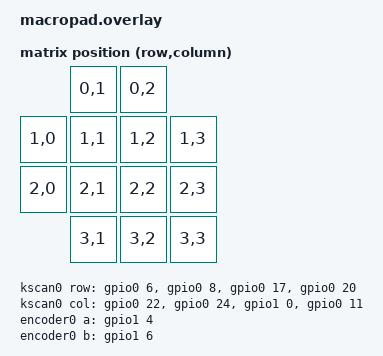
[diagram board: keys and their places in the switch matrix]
#include <dt-bindings/zmk/matrix_transform.h>
#include <dt-bindings/led/led.h>
#include <dt-bindings/gpio/gpio.h>
#include <physical_layouts.dtsi>
#include <zephyr/dt-bindings/pinctrl/nrf-pinctrl.h>

/ {
    // Status RGB LED, common cathode: red on D19, green on D18, blue on D14.
    // For a common-anode LED, change GPIO_ACTIVE_HIGH to GPIO_ACTIVE_LOW.
    zephyr,user {
        status-led-gpios = <&gpio0 2 GPIO_ACTIVE_HIGH>,
                           <&gpio1 15 GPIO_ACTIVE_HIGH>,
                           <&gpio1 11 GPIO_ACTIVE_HIGH>;
    };

    chosen {
        zmk,kscan = &kscan0;
        zmk,physical-layout = &physical_layout0;
        zmk,underglow = &led_strip;
    };

    kscan0: kscan {
        compatible = "zmk,kscan-gpio-matrix";
        diode-direction = "col2row";
        wakeup-source;

        col-gpios
            = <&gpio0 22 GPIO_ACTIVE_HIGH>
            , <&gpio0 24 GPIO_ACTIVE_HIGH>
            , <&gpio1 0 GPIO_ACTIVE_HIGH>
            , <&gpio0 11 GPIO_ACTIVE_HIGH>
            ;

        row-gpios
            = <&gpio0 6 (GPIO_ACTIVE_HIGH | GPIO_PULL_DOWN)>
            , <&gpio0 8 (GPIO_ACTIVE_HIGH | GPIO_PULL_DOWN)>
            , <&gpio0 17 (GPIO_ACTIVE_HIGH | GPIO_PULL_DOWN)>
            , <&gpio0 20 (GPIO_ACTIVE_HIGH | GPIO_PULL_DOWN)>
            ;
    };

    default_transform: matrix_transform {
        compatible = "zmk,matrix-transform";
        columns = <4>;
        rows = <4>;

        map = <
                    RC(0,1) RC(0,2)
            RC(1,0) RC(1,1) RC(1,2) RC(1,3)
            RC(2,0) RC(2,1) RC(2,2) RC(2,3)
                    RC(3,1) RC(3,2) RC(3,3)
        >;
    };

    physical_layout0: physical_layout_0 {
        compatible = "zmk,physical-layout";
        display-name = "Macropad";
        transform = <&default_transform>;

        keys
            = <&key_physical_attrs 100 100 100   0 0 0 0>
            , <&key_physical_attrs 100 100 200   0 0 0 0>
            , <&key_physical_attrs 100 100   0 100 0 0 0>
            , <&key_physical_attrs 100 100 100 100 0 0 0>
            , <&key_physical_attrs 100 100 200 100 0 0 0>
            , <&key_physical_attrs 100 100 300 100 0 0 0>
            , <&key_physical_attrs 100 100   0 200 0 0 0>
            , <&key_physical_attrs 100 100 100 200 0 0 0>
            , <&key_physical_attrs 100 100 200 200 0 0 0>
            , <&key_physical_attrs 100 100 300 200 0 0 0>
            , <&key_physical_attrs 100 100 100 300 0 0 0>
            , <&key_physical_attrs 100 100 200 300 0 0 0>
            , <&key_physical_attrs 100 100 300 300 0 0 0>
            ;
    };

    encoder0: encoder {
        compatible = "alps,ec11";
        a-gpios = <&gpio1 4 (GPIO_ACTIVE_HIGH | GPIO_PULL_UP)>;
        b-gpios = <&gpio1 6 (GPIO_ACTIVE_HIGH | GPIO_PULL_UP)>;
        steps = <80>;
        status = "okay";
    };

    sensors: sensors {
        compatible = "zmk,keymap-sensors";
        sensors = <&encoder0>;
        triggers-per-rotation = <20>;
    };
};

&pinctrl {
    spi3_default: spi3_default {
        group1 {
            psels = <NRF_PSEL(SPIM_SCK, 0, 31)>,
                    <NRF_PSEL(SPIM_MISO, 0, 29)>,
                    <NRF_PSEL(SPIM_MOSI, 1, 13)>;
        };
    };

    spi3_sleep: spi3_sleep {
        group1 {
            psels = <NRF_PSEL(SPIM_SCK, 0, 31)>,
                    <NRF_PSEL(SPIM_MISO, 0, 29)>,
                    <NRF_PSEL(SPIM_MOSI, 1, 13)>;
            low-power-enable;
        };
    };
};

&spi3 {
    status = "okay";
    compatible = "nordic,nrf-spim";
    pinctrl-0 = <&spi3_default>;
    pinctrl-1 = <&spi3_sleep>;
    pinctrl-names = "default", "sleep";

    led_strip: ws2812@0 {
        compatible = "worldsemi,ws2812-spi";
        reg = <0>;
        spi-max-frequency = <4000000>;
        chain-length = <23>;
        spi-one-frame = <0x70>;
        spi-zero-frame = <0x40>;
        color-mapping = <LED_COLOR_ID_GREEN LED_COLOR_ID_RED LED_COLOR_ID_BLUE>;
    };
};
